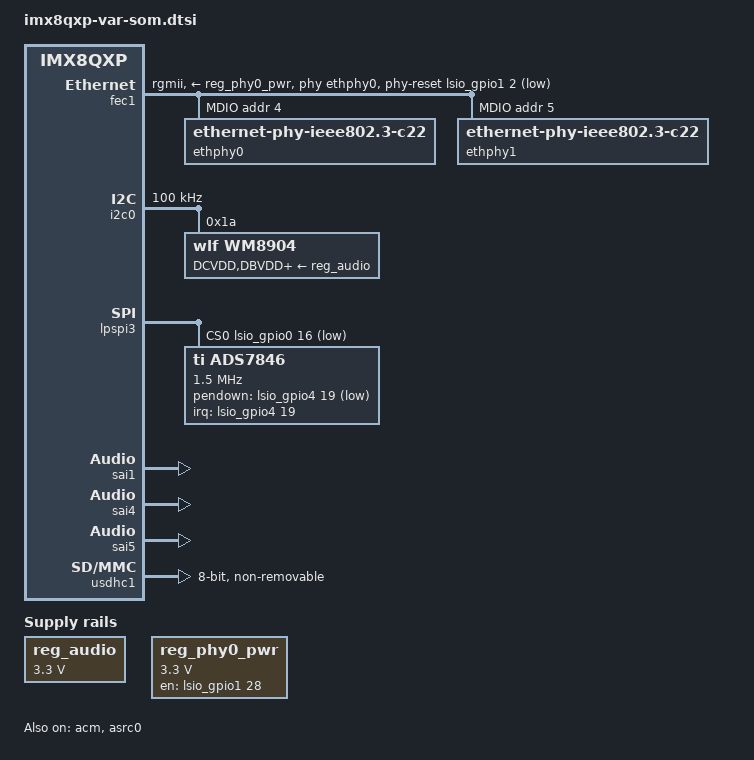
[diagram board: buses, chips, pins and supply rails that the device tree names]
// SPDX-License-Identifier: GPL-2.0+
/*
 * Copyright 2017-2020 NXP
 * Copyright 2019-2022 Variscite Ltd.
 */

/dts-v1/;

#include <dt-bindings/usb/pd.h>
#include "imx8qxp.dtsi"

/ {
	compatible = "variscite,imx8qxp-var-som", "fsl,imx8qxp";

	aliases {
		i2c0 = &i2c0;
		i2c1 = &i2c1;
		i2c2 = &i2c2;
		i2c3 = &i2c3;
	};

	regulators {
		compatible = "simple-bus";
		#address-cells = <1>;
		#size-cells = <0>;

		reg_audio: regulator-audio {
			compatible = "regulator-fixed";
			regulator-name = "wm8904_supply";
			regulator-min-microvolt = <3300000>;
			regulator-max-microvolt = <3300000>;
			regulator-always-on;
		};

		reg_phy0_pwr: regulator-phy0-pwr {
			compatible = "regulator-fixed";
			regulator-name = "phy0_supply";
			regulator-min-microvolt = <3300000>;
			regulator-max-microvolt = <3300000>;
			gpio = <&lsio_gpio1 28 GPIO_ACTIVE_HIGH>;
			enable-active-high;
			regulator-off-in-suspend;
		};
	};

	reserved-memory {
		#address-cells = <2>;
		#size-cells = <2>;
		ranges;

		decoder_boot: decoder-boot@84000000 {
			reg = <0 0x84000000 0 0x2000000>;
			no-map;
		};

		encoder_boot: encoder-boot@86000000 {
			reg = <0 0x86000000 0 0x200000>;
			no-map;
		};

		decoder_rpc: decoder-rpc@0x92000000 {
			reg = <0 0x92000000 0 0x200000>;
			no-map;
		};

		encoder_rpc: encoder-rpc@0x92200000 {
			reg = <0 0x92200000 0 0x200000>;
			no-map;
		};

		dsp_reserved: dsp@92400000 {
			reg = <0 0x92400000 0 0x1000000>;
			no-map;
		};
		dsp_reserved_heap: dsp_reserved_heap {
			reg = <0 0x93400000 0 0xef0000>;
			no-map;
		};
		dsp_vdev0vring0: vdev0vring0@942f0000 {
			reg = <0 0x942f0000 0 0x8000>;
			no-map;
		};

		dsp_vdev0vring1: vdev0vring1@942f8000 {
			reg = <0 0x942f8000 0 0x8000>;
			no-map;
		};

		dsp_vdev0buffer: vdev0buffer@94300000 {
			compatible = "shared-dma-pool";
			reg = <0 0x94300000 0 0x100000>;
			no-map;
		};

		encoder_reserved: encoder_reserved@94400000 {
			no-map;
			reg = <0 0x94400000 0 0x800000>;
		};
	};

	sound-wm8904 {
		compatible = "simple-audio-card";

		simple-audio-card,bitclock-master = <&dailink_master>;
		simple-audio-card,format = "i2s";
		simple-audio-card,frame-master = <&dailink_master>;
		simple-audio-card,name = "wm8904-audio";
		simple-audio-card,routing =
			"Headphone Jack", "HPOUTL",
			"Headphone Jack", "HPOUTR",
			"IN2L", "Line In Jack",
			"IN2R", "Line In Jack",
			"IN1L", "Microphone Jack",
			"IN1R", "Microphone Jack";
		simple-audio-card,widgets =
			"Microphone", "Microphone Jack",
			"Headphone", "Headphone Jack",
			"Line", "Line In Jack";
		simple-audio-card,mclk-fs = <256>;

		simple-audio-card,cpu {
			sound-dai = <&sai1>;
		};

		dailink_master: simple-audio-card,codec {
			sound-dai = <&wm8904>;
		};
	};
};

&acm {
	status = "okay";
};

&asrc0 {
	fsl,asrc-rate  = <48000>;
	status = "okay";
};

&fec1 {
	pinctrl-names = "default";
	pinctrl-0 = <&pinctrl_fec1>;
	phy-mode = "rgmii";
	phy-handle = <&ethphy0>;
	fsl,magic-packet;
	status = "okay";
	phy-supply = <&reg_phy0_pwr>;
	phy-reset-gpios = <&lsio_gpio1 2 GPIO_ACTIVE_LOW>;
	phy-reset-on-resume;
	phy-reset-duration = <100>;
	phy-reset-post-delay = <100>;

	mdio {
		#address-cells = <1>;
		#size-cells = <0>;

		ethphy0: ethernet-phy@4 {
			compatible = "ethernet-phy-ieee802.3-c22";
			reg = <4>;
			at803x,eee-disabled;
			at803x,vddio-1p8v;
		};

		ethphy1: ethernet-phy@5 {
			compatible = "ethernet-phy-ieee802.3-c22";
			reg = <5>;
			at803x,eee-disabled;
			at803x,vddio-1p8v;
			adi,phy-mode-override = "rgmii";
		};
	};
};

&gpio0_mipi_csi0 {
       status = "disabled";
};

&gpio0_mipi_csi1 {
       status = "disabled";
};

&iomuxc {
	pinctrl-names = "default";
	pinctrl-0 = <&pinctrl_hog>;

	pinctrl_hog: hoggrp {
		fsl,pins = <
			IMX8QXP_MCLK_OUT0_ADMA_ACM_MCLK_OUT0			0x0600004c
			IMX8QXP_COMP_CTL_GPIO_1V8_3V3_GPIORHB_PAD		0x000514a0
		>;
	};

	pinctrl_bt: btgrp {
		fsl,pins = <
			IMX8QXP_QSPI0A_DATA1_LSIO_GPIO3_IO10			0x06000021
			IMX8QXP_MIPI_DSI1_I2C0_SCL_LSIO_GPIO1_IO29		0x06000021
			IMX8QXP_QSPI0A_DATA2_LSIO_GPIO3_IO11			0x06000021
		>;
	};

	pinctrl_fec1: fec1grp {
		fsl,pins = <
			IMX8QXP_COMP_CTL_GPIO_1V8_3V3_ENET_ENETB0_PAD		0x000014a0
			IMX8QXP_COMP_CTL_GPIO_1V8_3V3_ENET_ENETB1_PAD		0x000014a0
			IMX8QXP_ENET0_MDC_CONN_ENET0_MDC			0x06000020
			IMX8QXP_ENET0_MDIO_CONN_ENET0_MDIO			0x06000020
			IMX8QXP_ENET0_RGMII_TX_CTL_CONN_ENET0_RGMII_TX_CTL	0x00000061
			IMX8QXP_ENET0_RGMII_TXC_CONN_ENET0_RGMII_TXC		0x00000061
			IMX8QXP_ENET0_RGMII_TXD0_CONN_ENET0_RGMII_TXD0		0x00000061
			IMX8QXP_ENET0_RGMII_TXD1_CONN_ENET0_RGMII_TXD1		0x00000061
			IMX8QXP_ENET0_RGMII_TXD2_CONN_ENET0_RGMII_TXD2		0x00000061
			IMX8QXP_ENET0_RGMII_TXD3_CONN_ENET0_RGMII_TXD3		0x00000061
			IMX8QXP_ENET0_RGMII_RXC_CONN_ENET0_RGMII_RXC		0x00000061
			IMX8QXP_ENET0_RGMII_RX_CTL_CONN_ENET0_RGMII_RX_CTL	0x00000061
			IMX8QXP_ENET0_RGMII_RXD0_CONN_ENET0_RGMII_RXD0		0x00000061
			IMX8QXP_ENET0_RGMII_RXD1_CONN_ENET0_RGMII_RXD1		0x00000061
			IMX8QXP_ENET0_RGMII_RXD2_CONN_ENET0_RGMII_RXD2		0x00000061
			IMX8QXP_ENET0_RGMII_RXD3_CONN_ENET0_RGMII_RXD3		0x00000061
			IMX8QXP_SPI2_SDI_LSIO_GPIO1_IO02 			0x06000021
			IMX8QXP_MIPI_DSI0_GPIO0_01_LSIO_GPIO1_IO28		0xC0000021
		>;
	};

	pinctrl_lpi2c0: lpi2c0grp {
		fsl,pins = <
			IMX8QXP_MIPI_CSI0_GPIO0_00_ADMA_I2C0_SCL		0x06000021
			IMX8QXP_MIPI_CSI0_GPIO0_01_ADMA_I2C0_SDA		0x06000021
		>;
	};

	pinctrl_lpspi3: lpspi3grp {
		fsl,pins = <
			IMX8QXP_SPI3_SCK_ADMA_SPI3_SCK				0x0600004c
			IMX8QXP_SPI3_SDI_ADMA_SPI3_SDI				0x0600004c
			IMX8QXP_SPI3_SDO_ADMA_SPI3_SDO				0x0600004c
			IMX8QXP_SPI3_CS0_LSIO_GPIO0_IO16			0x00000021
		>;
	};

	pinctrl_lpuart0: lpuart0grp {
		fsl,pins = <
			IMX8QXP_UART0_RX_ADMA_UART0_RX				0x06000020
			IMX8QXP_UART0_TX_ADMA_UART0_TX				0x06000020
			IMX8QXP_FLEXCAN0_RX_ADMA_UART0_RTS_B			0x06000020
			IMX8QXP_FLEXCAN0_TX_ADMA_UART0_CTS_B			0x06000020
		>;
	};

	pinctrl_restouch: restouchgrp {
		fsl,pins = <
			IMX8QXP_USDHC1_RESET_B_LSIO_GPIO4_IO19  		0xC0000041
		>;
	};

	pinctrl_sai1: sai1grp {
		fsl,pins = <
			IMX8QXP_FLEXCAN1_TX_ADMA_SAI1_RXD			0x06000040
			IMX8QXP_FLEXCAN1_RX_ADMA_SAI1_TXD			0x06000060
			IMX8QXP_SAI1_RXC_ADMA_SAI1_TXC				0x06000040
			IMX8QXP_SAI0_TXD_ADMA_SAI1_RXC				0x06000040
			IMX8QXP_SAI1_RXFS_ADMA_SAI1_TXFS			0x06000040
			IMX8QXP_SAI0_RXD_ADMA_SAI1_RXFS				0x06000040
		>;
	};

	pinctrl_usdhc1: usdhc1grp {
		fsl,pins = <
			IMX8QXP_EMMC0_CLK_CONN_EMMC0_CLK			0x06000041
			IMX8QXP_EMMC0_CMD_CONN_EMMC0_CMD			0x00000021
			IMX8QXP_EMMC0_DATA0_CONN_EMMC0_DATA0			0x00000021
			IMX8QXP_EMMC0_DATA1_CONN_EMMC0_DATA1			0x00000021
			IMX8QXP_EMMC0_DATA2_CONN_EMMC0_DATA2			0x00000021
			IMX8QXP_EMMC0_DATA3_CONN_EMMC0_DATA3			0x00000021
			IMX8QXP_EMMC0_DATA4_CONN_EMMC0_DATA4			0x00000021
			IMX8QXP_EMMC0_DATA5_CONN_EMMC0_DATA5			0x00000021
			IMX8QXP_EMMC0_DATA6_CONN_EMMC0_DATA6			0x00000021
			IMX8QXP_EMMC0_DATA7_CONN_EMMC0_DATA7			0x00000021
			IMX8QXP_EMMC0_STROBE_CONN_EMMC0_STROBE			0x00000041
		>;
	};

	pinctrl_usdhc1_100mhz: usdhc1grp100mhz {
		fsl,pins = <
			IMX8QXP_EMMC0_CLK_CONN_EMMC0_CLK			0x06000041
			IMX8QXP_EMMC0_CMD_CONN_EMMC0_CMD			0x00000021
			IMX8QXP_EMMC0_DATA0_CONN_EMMC0_DATA0			0x00000021
			IMX8QXP_EMMC0_DATA1_CONN_EMMC0_DATA1			0x00000021
			IMX8QXP_EMMC0_DATA2_CONN_EMMC0_DATA2			0x00000021
			IMX8QXP_EMMC0_DATA3_CONN_EMMC0_DATA3			0x00000021
			IMX8QXP_EMMC0_DATA4_CONN_EMMC0_DATA4			0x00000021
			IMX8QXP_EMMC0_DATA5_CONN_EMMC0_DATA5			0x00000021
			IMX8QXP_EMMC0_DATA6_CONN_EMMC0_DATA6			0x00000021
			IMX8QXP_EMMC0_DATA7_CONN_EMMC0_DATA7			0x00000021
			IMX8QXP_EMMC0_STROBE_CONN_EMMC0_STROBE			0x00000041
		>;
	};

	pinctrl_usdhc1_200mhz: usdhc1grp200mhz {
		fsl,pins = <
			IMX8QXP_EMMC0_CLK_CONN_EMMC0_CLK			0x06000041
			IMX8QXP_EMMC0_CMD_CONN_EMMC0_CMD			0x00000021
			IMX8QXP_EMMC0_DATA0_CONN_EMMC0_DATA0			0x00000021
			IMX8QXP_EMMC0_DATA1_CONN_EMMC0_DATA1			0x00000021
			IMX8QXP_EMMC0_DATA2_CONN_EMMC0_DATA2			0x00000021
			IMX8QXP_EMMC0_DATA3_CONN_EMMC0_DATA3			0x00000021
			IMX8QXP_EMMC0_DATA4_CONN_EMMC0_DATA4			0x00000021
			IMX8QXP_EMMC0_DATA5_CONN_EMMC0_DATA5			0x00000021
			IMX8QXP_EMMC0_DATA6_CONN_EMMC0_DATA6			0x00000021
			IMX8QXP_EMMC0_DATA7_CONN_EMMC0_DATA7			0x00000021
			IMX8QXP_EMMC0_STROBE_CONN_EMMC0_STROBE			0x00000041
		>;
	};

	pinctrl_usdhc2_gpio: usdhc2gpiogrp {
		fsl,pins = <
			IMX8QXP_SPI0_CS1_LSIO_GPIO1_IO07			0x00000021
			IMX8QXP_USDHC1_CD_B_LSIO_GPIO4_IO22			0x00000021
		>;
	};

	pinctrl_usdhc2: usdhc2grp {
		fsl,pins = <
			IMX8QXP_USDHC1_CLK_CONN_USDHC1_CLK			0x06000041
			IMX8QXP_USDHC1_CMD_CONN_USDHC1_CMD			0x00000021
			IMX8QXP_USDHC1_DATA0_CONN_USDHC1_DATA0			0x00000021
			IMX8QXP_USDHC1_DATA1_CONN_USDHC1_DATA1			0x00000021
			IMX8QXP_USDHC1_DATA2_CONN_USDHC1_DATA2			0x00000021
			IMX8QXP_USDHC1_DATA3_CONN_USDHC1_DATA3			0x00000021
		>;
	};

	pinctrl_usdhc2_100mhz: usdhc2grp100mhz {
		fsl,pins = <
			IMX8QXP_USDHC1_CLK_CONN_USDHC1_CLK			0x06000041
			IMX8QXP_USDHC1_CMD_CONN_USDHC1_CMD			0x00000021
			IMX8QXP_USDHC1_DATA0_CONN_USDHC1_DATA0			0x00000021
			IMX8QXP_USDHC1_DATA1_CONN_USDHC1_DATA1			0x00000021
			IMX8QXP_USDHC1_DATA2_CONN_USDHC1_DATA2			0x00000021
			IMX8QXP_USDHC1_DATA3_CONN_USDHC1_DATA3			0x00000021
		>;
	};

	pinctrl_usdhc2_200mhz: usdhc2grp200mhz {
		fsl,pins = <
			IMX8QXP_USDHC1_CLK_CONN_USDHC1_CLK			0x06000041
			IMX8QXP_USDHC1_CMD_CONN_USDHC1_CMD			0x00000021
			IMX8QXP_USDHC1_DATA0_CONN_USDHC1_DATA0			0x00000021
			IMX8QXP_USDHC1_DATA1_CONN_USDHC1_DATA1			0x00000021
			IMX8QXP_USDHC1_DATA2_CONN_USDHC1_DATA2			0x00000021
			IMX8QXP_USDHC1_DATA3_CONN_USDHC1_DATA3			0x00000021
		>;
	};

	pinctrl_wifi: wifigrp {
		fsl,pins = <
			IMX8QXP_SCU_BOOT_MODE3_SCU_DSC_RTC_CLOCK_OUTPUT_32K	0x20
			IMX8QXP_QSPI0A_SCLK_LSIO_GPIO3_IO16			0x06000021
			IMX8QXP_QSPI0A_DQS_LSIO_GPIO3_IO13			0x06000021
			IMX8QXP_QSPI0A_DATA0_LSIO_GPIO3_IO09			0x06000021
		>;
	};
};

&i2c0 {
	#address-cells = <1>;
	#size-cells = <0>;
	clock-frequency = <100000>;
	pinctrl-names = "default";
	pinctrl-0 = <&pinctrl_lpi2c0>;
	status = "okay";

	wm8904: codec@1a {
		compatible = "wlf,wm8904";
		#sound-dai-cells = <0>;
		reg = <0x1a>;
		clocks = <&mclkout0_lpcg 0>;
		clock-names = "mclk";
		DCVDD-supply = <&reg_audio>;
		DBVDD-supply = <&reg_audio>;
		AVDD-supply = <&reg_audio>;
		CPVDD-supply = <&reg_audio>;
		MICVDD-supply = <&reg_audio>;
		num-drc-cfgs = <5>;
		drc-cfg-names = "default", "peaklimiter", "tradition", "soft", "music";
		drc-cfg-regs =
				/* coded default: KNEE_IP = KNEE_OP = 0, HI_COMP = LO_COMP = 1  */
				<0x01af 0x3248 0x0000 0x0000>,
				/* coded default: KNEE_IP = -24, KNEE_OP = -6, HI_COMP = 1/4, LO_COMP = 1 */
				<0x04af 0x324b 0x0010 0x0408>,
				/* coded default: KNEE_IP = -42, KNEE_OP = -3, HI_COMP = 0, LO_COMP = 1 */
				<0x04af 0x324b 0x0028 0x0704>,
				/* coded default: KNEE_IP = -45, KNEE_OP = -9, HI_COMP = 1/8, LO_COMP = 1 */
				<0x04af 0x324b 0x0018 0x078c>,
				/* coded default: KNEE_IP = -30, KNEE_OP = -10.5, HI_COMP = 1/4, LO_COMP = 1 */
				<0x04af 0x324b 0x0010 0x050e>;
		gpio-cfg = <
			0x0018 /* GPIO1 => DMIC_CLK */
			0xffff /* GPIO2 => don't touch */
			0xffff /* GPIO3 => don't touch */
			0xffff /* GPIO4 => don't touch */
		>;
		status = "okay";
	};
};

/* Bluetooth */
&lpuart0 {
	pinctrl-names = "default";
	pinctrl-0 = <&pinctrl_lpuart0>, <&pinctrl_bt>;
	dma-names = "tx","rx";
	dmas = <&edma2 9 0 0>,
		<&edma2 8 0 1>;
	status = "disabled";
};

&lpspi3 {
	#address-cells = <1>;
	#size-cells = <0>;
	pinctrl-names = "default";
	pinctrl-0 = <&pinctrl_lpspi3>;
	cs-gpios = <&lsio_gpio0 16 GPIO_ACTIVE_LOW>;
	status = "okay";

	/* Resistive touch controller */
	ads7846@0 {
		reg = <0>;
		compatible = "ti,ads7846";
		pinctrl-names = "default";
		pinctrl-0 = <&pinctrl_restouch>;
		interrupt-parent = <&lsio_gpio4>;
		interrupts = <19 IRQ_TYPE_EDGE_FALLING>;
		spi-max-frequency = <1500000>;
		pendown-gpio = <&lsio_gpio4 19 GPIO_ACTIVE_LOW>;
		ti,x-min = /bits/ 16 <125>;
		ti,x-max = /bits/ 16 <4008>;
		ti,y-min = /bits/ 16 <282>;
		ti,y-max = /bits/ 16 <3864>;
		ti,x-plate-ohms = /bits/ 16 <180>;
		ti,pressure-max = /bits/ 16 <255>;
		ti,debounce-max = /bits/ 16 <10>;
		ti,debounce-tol = /bits/ 16 <3>;
		ti,debounce-rep = /bits/ 16 <1>;
		ti,settle-delay-usec = /bits/ 16 <150>;
		ti,keep-vref-on;
		status = "okay";
	};
};

&sai1 {
	#sound-dai-cells = <0>;
	assigned-clocks = <&clk IMX_SC_R_AUDIO_PLL_0 IMX_SC_PM_CLK_PLL>,
			<&clk IMX_SC_R_AUDIO_PLL_0 IMX_SC_PM_CLK_SLV_BUS>,
			<&clk IMX_SC_R_AUDIO_PLL_0 IMX_SC_PM_CLK_MST_BUS>,
			<&sai1_lpcg 0>; /* FIXME: should be sai1, original code is 0 */
	assigned-clock-rates = <786432000>, <49152000>, <12288000>, <49152000>;
	pinctrl-names = "default";
	pinctrl-0 = <&pinctrl_sai1>;
	status = "okay";
};

&sai4 {
	assigned-clocks = <&acm IMX_ADMA_ACM_SAI4_MCLK_SEL>,
			<&clk IMX_SC_R_AUDIO_PLL_1 IMX_SC_PM_CLK_PLL>,
			<&clk IMX_SC_R_AUDIO_PLL_1 IMX_SC_PM_CLK_SLV_BUS>,
			<&clk IMX_SC_R_AUDIO_PLL_1 IMX_SC_PM_CLK_MST_BUS>,
			<&sai4_lpcg 0>;
	assigned-clock-parents = <&aud_pll_div1_lpcg 0>;
	assigned-clock-rates = <0>, <786432000>, <98304000>, <12288000>, <98304000>;
	fsl,sai-asynchronous;
	fsl,txm-rxs;
	status = "okay";
};

&sai5 {
	assigned-clocks = <&acm IMX_ADMA_ACM_SAI5_MCLK_SEL>,
			<&clk IMX_SC_R_AUDIO_PLL_1 IMX_SC_PM_CLK_PLL>,
			<&clk IMX_SC_R_AUDIO_PLL_1 IMX_SC_PM_CLK_SLV_BUS>,
			<&clk IMX_SC_R_AUDIO_PLL_1 IMX_SC_PM_CLK_MST_BUS>,
			<&sai5_lpcg 0>;
	assigned-clock-parents = <&aud_pll_div1_lpcg 0>;
	assigned-clock-rates = <0>, <786432000>, <98304000>, <12288000>, <98304000>;
	fsl,sai-asynchronous;
	fsl,txm-rxs;
	status = "okay";
};

&thermal_zones {
	pmic-thermal0 {
		polling-delay-passive = <250>;
		polling-delay = <2000>;
		thermal-sensors = <&tsens IMX_SC_R_PMIC_0>;

		trips {
			pmic_alert0: trip0 {
				temperature = <110000>;
				hysteresis = <2000>;
				type = "passive";
			};

			pmic_crit0: trip1 {
				temperature = <125000>;
				hysteresis = <2000>;
				type = "critical";
			};
		};

		cooling-maps {
			map0 {
				trip = <&pmic_alert0>;
				cooling-device =
					<&A35_0 THERMAL_NO_LIMIT THERMAL_NO_LIMIT>,
					<&A35_1 THERMAL_NO_LIMIT THERMAL_NO_LIMIT>,
					<&A35_2 THERMAL_NO_LIMIT THERMAL_NO_LIMIT>,
					<&A35_3 THERMAL_NO_LIMIT THERMAL_NO_LIMIT>;
			};
		};
	};
};

&usdhc1 {
	pinctrl-names = "default", "state_100mhz", "state_200mhz";
	pinctrl-0 = <&pinctrl_usdhc1>;
	pinctrl-1 = <&pinctrl_usdhc1_100mhz>;
	pinctrl-2 = <&pinctrl_usdhc1_200mhz>;
	bus-width = <8>;
	non-removable;
	status = "okay";
};

&vpu_decoder {
	boot-region = <&decoder_boot>;
	rpc-region = <&decoder_rpc>;
	reg-csr = <0x2d040000>;
	core_type = <1>;
	status = "disabled";
};

&vpu_encoder {
	boot-region = <&encoder_boot>;
	rpc-region = <&encoder_rpc>;
	reserved-region = <&encoder_reserved>;
	reg-rpc-system = <0x40000000>;
	resolution-max = <1920 1920>;
	mbox-names = "enc1_tx0", "enc1_tx1", "enc1_rx";
	mboxes = <&mu1_m0 0 0
		  &mu1_m0 0 1
		  &mu1_m0 1 0>;
	status = "disabled";

	core0@1020000 {
		compatible = "fsl,imx8-mu1-vpu-m0";
		reg = <0x1020000 0x20000>;
		reg-csr = <0x1050000 0x10000>;
		interrupts = <GIC_SPI 470 IRQ_TYPE_LEVEL_HIGH>;
		fsl,vpu_ap_mu_id = <17>;
		fw-buf-size = <0x200000>;
		rpc-buf-size = <0x80000>;
		print-buf-size = <0x80000>;
	};
};
